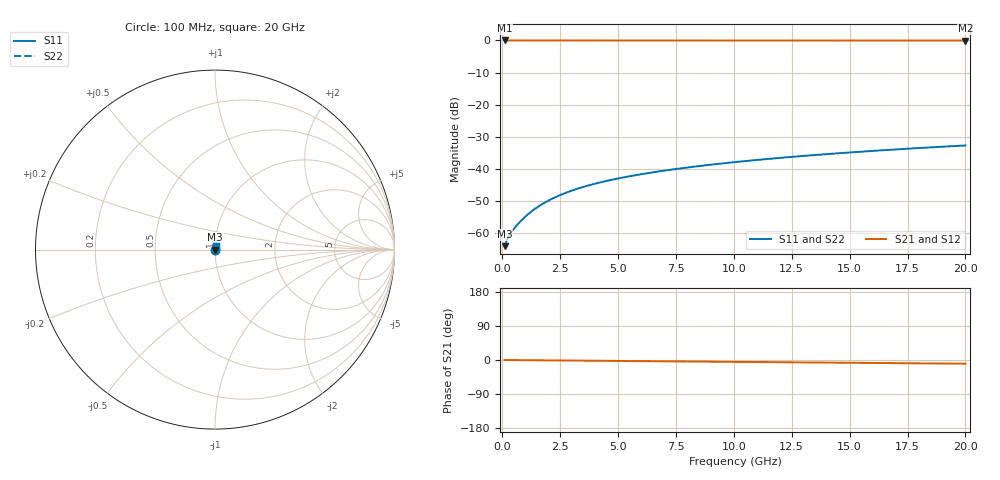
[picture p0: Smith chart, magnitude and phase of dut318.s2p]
! Touchstone file exported from HFSS 2026.1.0
!  File:  C:/ffzhzh/LocalFiles/Ansys_Project_Files/temp_train_BSMRDL_318_1783010781_53980.aedt
!  Generated:  12:47:34 AM Jul  3, 2026
!  Design:  BSMRDL
!  Project:  temp_train_BSMRDL_318_1783010781_53980
! Variables:
!  h_bsmrdl = 5.1um
!  h_ox = 20um
!  h_rdl = 5um
!  h_sub = 80um
!  h_tmrdl = 5um
!  h_tsv = 80um
!  h_via = 3um
!  l_bsmrdl = 154.29um
!  l_sub = 554.29um
!  l_tmrdl = 200um
!  m_sub = 200um
!  pitch = 36.92um
!  r_tsv = 6um
!  s_tmrdl = 10um
!  w_bsmrdl = 29.16um
!  w_sub = 500um
!  w_tmrdl = 12um
!  x_tsv_center1 = 206um
!  x_tsv_center2 = 389.45um
!  x_tsv_center3 = 601.45um
!  x_tsv_center4 = 784.9um
!  x_tsv_center5 = 996.9um
!  x_tsv_center6 = 1180.35um
# GHz S MA R 50.000000
! Terminal data exported
! Port[1] = BSM_RDL1_1_T1
! Port[2] = BSM_RDL1_1_T2
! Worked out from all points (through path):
!   200 points, 100 MHz to 20 GHz, reference 50 ohm
!   highest |S21| = 0.00 dB at 100 MHz (marker M1); lowest = 0.0 dB at 20 GHz (marker M2)
!   group delay of S21, straight-line fit = 1.35 ps
!   lowest |S11| = -64.1 dB at 100 MHz (marker M3), VSWR 1.00, Z = 50.1 + j0.0261 ohm
!   |S11| at or under -10 dB: start of sweep to end of sweep
!   |S22| runs from -64.1 to -32.7 dB; largest |S21 - S12| = 2.2e-15
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0.1  0.0006252 24.6  0.9994 -0.1  0.9994 -0.1  0.0006252 24.6
! Gamma 0 0 0 0
! Port Impedance 50 0 50 0
0.2  0.0007897 34.5  0.9994 -0.1  0.9994 -0.1  0.0007897 34.5
0.3  0.0009263 40.0  0.9993 -0.2  0.9993 -0.2  0.0009263 40.0
0.5  0.001167 48.3  0.9992 -0.3  0.9992 -0.3  0.001167 48.3
0.7  0.001414 54.7  0.9992 -0.4  0.9992 -0.4  0.001414 54.7
0.9  0.001676 59.4  0.9992 -0.5  0.9992 -0.5  0.001676 59.4
1.1  0.001948 62.7  0.9991 -0.6  0.9991 -0.6  0.001948 62.7
1.3  0.002227 65.2  0.9991 -0.7  0.9991 -0.7  0.002227 65.2
1.5  0.002509 66.9  0.999 -0.8  0.999 -0.8  0.002509 66.9
1.8  0.002932 68.8  0.999 -0.9  0.999 -0.9  0.002932 68.8
2.3  0.003631 70.5  0.9989 -1.2  0.9989 -1.2  0.003631 70.5
2.9  0.004447 71.6  0.9987 -1.5  0.9987 -1.5  0.004447 71.6
3.5  0.005233 72.0  0.9985 -1.8  0.9985 -1.8  0.005233 72.0
4.2  0.006116 72.2  0.9983 -2.1  0.9983 -2.1  0.006116 72.2
5  0.007087 72.3  0.9981 -2.5  0.9981 -2.5  0.007087 72.3
5.8  0.008026 72.4  0.9979 -2.9  0.9979 -2.9  0.008026 72.4
6.8  0.009168 72.4  0.9977 -3.4  0.9977 -3.4  0.009168 72.4
8.3  0.01084 72.4  0.9974 -4.1  0.9974 -4.1  0.01084 72.4
10.1  0.0128 72.3  0.9971 -5.0  0.9971 -5.0  0.0128 72.2
13.4  0.01632 71.8  0.9966 -6.6  0.9966 -6.6  0.01632 71.8
16.7  0.01977 71.0  0.9961 -8.2  0.9961 -8.2  0.01977 71.0
20  0.02315 70.1  0.9956 -9.7  0.9956 -9.7  0.02315 70.1
